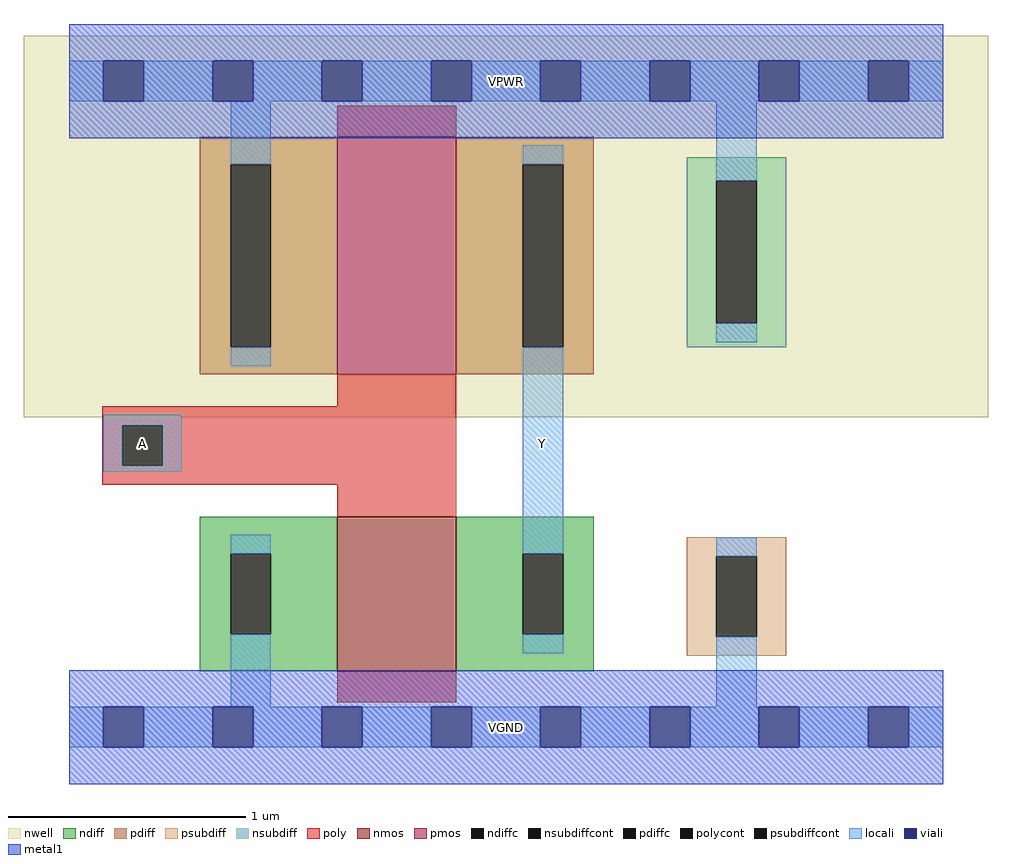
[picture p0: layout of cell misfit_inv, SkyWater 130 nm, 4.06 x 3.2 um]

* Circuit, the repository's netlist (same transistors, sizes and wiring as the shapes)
* NGSPICE file created from misfit_inv.ext - technology: sky130A

.subckt misfit_inv A Y VGND VPWR
X0 Y A VGND VGND sky130_fd_pr__nfet_01v8 ad=0.377 pd=2.46 as=0.377 ps=2.46 w=0.65 l=0.5
X1 Y A VPWR VPWR sky130_fd_pr__pfet_01v8 ad=0.58 pd=3.16 as=0.58 ps=3.16 w=1 l=0.5
.ends

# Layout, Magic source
magic
tech sky130A
magscale 1 2
<< nwell >>
rect -38 261 774 582
<< nmos >>
rect 226 47 326 177
<< pmos >>
rect 226 297 326 497
<< ndiff >>
rect 110 146 226 177
rect 110 78 136 146
rect 170 78 226 146
rect 110 47 226 78
rect 326 146 442 177
rect 326 78 382 146
rect 416 78 442 146
rect 326 47 442 78
<< pdiff >>
rect 110 474 226 497
rect 110 320 136 474
rect 170 320 226 474
rect 110 297 226 320
rect 326 474 442 497
rect 326 320 382 474
rect 416 320 442 474
rect 326 297 442 320
<< ndiffc >>
rect 136 78 170 146
rect 382 78 416 146
<< pdiffc >>
rect 136 320 170 474
rect 382 320 416 474
<< psubdiff >>
rect 520 144 604 160
rect 520 76 545 144
rect 579 76 604 144
rect 520 60 604 76
<< nsubdiff >>
rect 520 460 604 480
rect 520 340 545 460
rect 579 340 604 460
rect 520 320 604 340
<< psubdiffcont >>
rect 545 76 579 144
<< nsubdiffcont >>
rect 545 340 579 460
<< poly >>
rect 226 497 326 523
rect 226 270 326 297
rect 28 254 326 270
rect 28 220 45 254
rect 79 220 326 254
rect 28 204 326 220
rect 226 177 326 204
rect 226 21 326 47
<< polycont >>
rect 45 220 79 254
<< locali >>
rect 0 527 29 561
rect 63 527 121 561
rect 155 527 213 561
rect 247 527 305 561
rect 339 527 397 561
rect 431 527 489 561
rect 523 527 581 561
rect 615 527 673 561
rect 707 527 736 561
rect 136 474 170 527
rect 136 304 170 320
rect 382 474 416 490
rect 545 460 579 527
rect 545 324 579 340
rect 29 254 95 263
rect 29 220 45 254
rect 79 220 95 254
rect 29 215 95 220
rect 136 146 170 162
rect 136 17 170 78
rect 382 146 416 320
rect 382 62 416 78
rect 545 144 579 160
rect 545 17 579 76
rect 0 -17 29 17
rect 63 -17 121 17
rect 155 -17 213 17
rect 247 -17 305 17
rect 339 -17 397 17
rect 431 -17 489 17
rect 523 -17 581 17
rect 615 -17 673 17
rect 707 -17 736 17
<< viali >>
rect 29 527 63 561
rect 121 527 155 561
rect 213 527 247 561
rect 305 527 339 561
rect 397 527 431 561
rect 489 527 523 561
rect 581 527 615 561
rect 673 527 707 561
rect 29 -17 63 17
rect 121 -17 155 17
rect 213 -17 247 17
rect 305 -17 339 17
rect 397 -17 431 17
rect 489 -17 523 17
rect 581 -17 615 17
rect 673 -17 707 17
<< metal1 >>
rect 0 561 736 592
rect 0 527 29 561
rect 63 527 121 561
rect 155 527 213 561
rect 247 527 305 561
rect 339 527 397 561
rect 431 527 489 561
rect 523 527 581 561
rect 615 527 673 561
rect 707 527 736 561
rect 0 496 736 527
rect 0 17 736 48
rect 0 -17 29 17
rect 63 -17 121 17
rect 155 -17 213 17
rect 247 -17 305 17
rect 339 -17 397 17
rect 431 -17 489 17
rect 523 -17 581 17
rect 615 -17 673 17
rect 707 -17 736 17
rect 0 -48 736 -17
<< labels >>
flabel locali 29 215 95 263 0 FreeSans 320 0 0 0 A
port 1 nsew
flabel locali 382 215 416 263 0 FreeSans 320 0 0 0 Y
port 2 nsew
flabel metal1 0 -48 736 48 0 FreeSans 320 0 0 0 VGND
port 3 nsew
flabel metal1 0 496 736 592 0 FreeSans 320 0 0 0 VPWR
port 4 nsew
<< properties >>
string FIXED_BBOX 0 0 736 544
<< end >>
